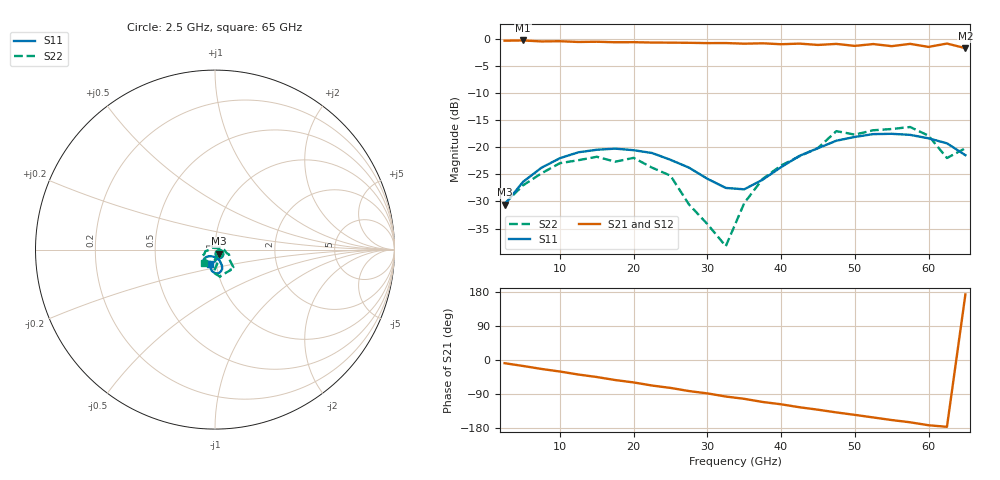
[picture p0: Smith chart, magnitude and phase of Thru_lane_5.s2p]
! File created by SignalIntegrity v1.5.1: Signal and Power Integrity Tools
! https://github.com/Nubis-Communications/SignalIntegrity
# MHz S MA R 50.0
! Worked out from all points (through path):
!   26 points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, 2.5 GHz to 65 GHz, reference 50 ohm
!   highest |S21| = -0.25 dB at 5 GHz (marker M1); lowest = -1.7 dB at 65 GHz (marker M2)
!   group delay of S21, straight-line fit = 7.87 ps
!   lowest |S11| = -30.6 dB at 2.5 GHz (marker M3), VSWR 1.06, Z = 51.9 - j2.3 ohm
!   |S11| at or under -10 dB: start of sweep to end of sweep
!   |S22| runs from -38.3 to -16.2 dB; largest |S21 - S12| = 0.084
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2500  0.02956 -48.5  0.9667 -8.5  0.9648 -8.4  0.03021 -41.8
5000  0.04803 -74.3  0.9717 -15.7  0.9712 -15.9  0.04459 -81.0
10000  0.07941 -102.1  0.9563 -30.4  0.9567 -30.6  0.07145 -106.3
15000  0.09502 -120.0  0.9459 -44.9  0.9471 -45.1  0.08192 -130.6
17500  0.09733 -127.1  0.935 -52.9  0.9295 -52.9  0.07373 -139.6
20000  0.09414 -132.4  0.9366 -59.2  0.9388 -59.5  0.08002 -154.0
25000  0.07674 -140.1  0.9277 -73.6  0.9308 -73.8  0.05477 -170.2
27500  0.06501 -139.6  0.9244 -81.9  0.9186 -81.9  0.02975 -179.4
32500  0.0422 -118.5  0.9195 -96.4  0.9122 -96.5  0.01223 53.8
35000  0.04097 -95.4  0.9073 -102.5  0.9151 -102.5  0.03053 20.4
37500  0.05029 -77.1  0.9146 -110.8  0.9052 -111.0  0.05115 -1.2
40000  0.0656 -67.5  0.8968 -116.9  0.9054 -116.7  0.06797 -16.5
42500  0.0836 -66.4  0.9086 -124.7  0.8958 -125.3  0.08276 -19.4
45000  0.09825 -66.6  0.8835 -131.2  0.8927 -130.6  0.09856 -34.6
47500  0.1152 -69.7  0.9029 -138.3  0.89 -139.2  0.1412 -43.7
50000  0.1249 -74.6  0.8658 -144.8  0.8807 -144.2  0.1312 -50.8
52500  0.1325 -80.0  0.9002 -151.6  0.8834 -153.1  0.1439 -52.1
55000  0.1334 -85.1  0.8606 -158.4  0.87 -157.2  0.1478 -76.8
57500  0.1305 -90.4  0.9039 -164.4  0.8876 -166.5  0.1542 -79.2
60000  0.1212 -97.7  0.8473 -172.2  0.8611 -169.8  0.1282 -94.2
62500  0.109 -102.6  0.9098 -176.4  0.897 179.7  0.0797 -80.6
65000  0.08468 -109.9  0.8251 173.0  0.8468 178.6  0.09817 -129.2
